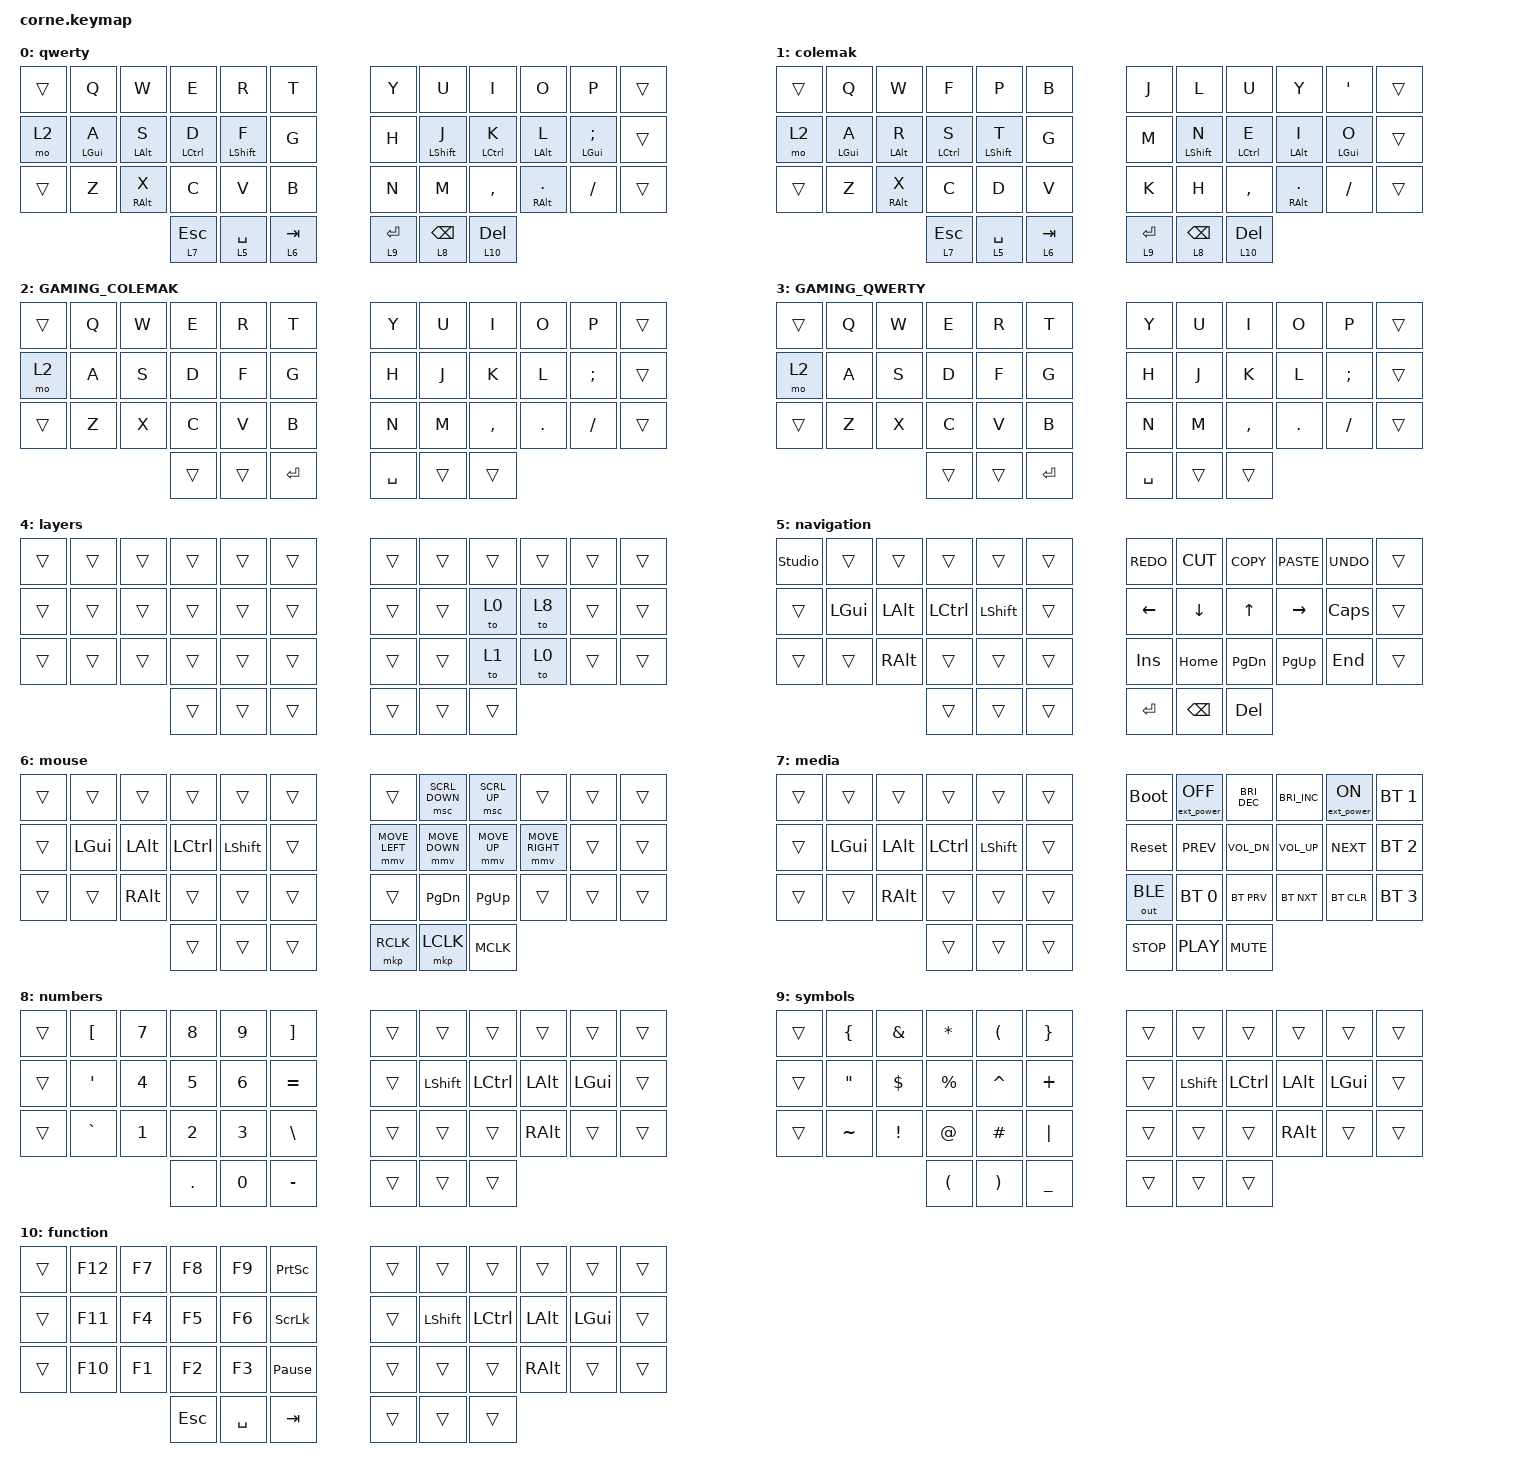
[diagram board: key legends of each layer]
#include <behaviors.dtsi>
#include <dt-bindings/zmk/bt.h>
#include <dt-bindings/zmk/ext_power.h>
#include <dt-bindings/zmk/keys.h>
#include <dt-bindings/zmk/outputs.h>
#include <dt-bindings/zmk/pointing.h>

// Layer Definitions


#define QWERTY 0
#define COLEMAK 1
#define GAMING_COLEMAK 2
#define GAMING_QWERTY 3
#define LAYERS 4
#define NAV 5
#define MOUSE 6
#define MEDIA 7
#define NUM 8
#define SYM 9
#define FN 10

// Behavior configuration

&mt {
    tapping-term-ms = <200>;
    quick_tap_ms = <0>;
    flavor = "tap-preferred";
};

&lt {
    tapping-term-ms = <200>;
    quick_tap_ms = <0>;
    flavor = "tap-preferred";
};

&sk {
    release-after-ms = <500>;
    quick-release;
};

// Keymap configuration (Colemak-DHm)

/ {
    keymap {
        compatible = "zmk,keymap";

        qwerty {
            // -----------------------------------------------------------------------------------------------------------------------------------------------------------------
            // | LAYERS |    Q    |    W    |    E    |    R    |    T    |   #   |    Y    |    U    |    I    |    O    |    P    |         |
            // |  HOLD  | A/LGUI  | S/LALT  | D/LCTRL | F/LSHFT |    G    |   #   |    H    | J/LSHFT | K/LCTRL | L/LALT  | ;/LGUI  |         |
            // |        |    Z    | X/RALT  |    C    |    V    |    B    |   #   |    N    |    M    |    ,    | ./RALT  |    /    |         |
            //                              | ESC/MED | SPC/NAV | TAB/MSE |   #   | ENT/SYM | BSP/NUM | DEL/FN  |

            bindings = <
&trans          &kp Q           &kp W           &kp E           &kp R           &kp T               &kp Y           &kp U           &kp I           &kp O           &kp P           &trans
&mo 2           &mt LGUI A      &mt LALT S      &mt LCTRL D     &mt LSHFT F     &kp G               &kp H           &mt LSHFT J     &mt LCTRL K     &mt LALT L      &mt LGUI SEMI   &trans
&trans          &kp Z           &mt RALT X      &kp C           &kp V           &kp B               &kp N           &kp M           &kp COMMA       &mt RALT DOT    &kp FSLH        &trans
                                                &lt 7 ESC       &lt 5 SPACE     &lt 6 TAB           &lt 9 ENTER     &lt 8 BSPC      &lt 10 DEL
            >;
        };

        colemak {
            // -----------------------------------------------------------------------------------------------------------------------------------------------------------------
            // | LAYERS |    Q    |    W    |    F    |    P    |    B    |   #   |    J    |    L    |    U    |    Y    |    '    |         |
            // |  HOLD  | A/LGUI  | R/LALT  | S/LCTRL | T/LSHFT |    G    |   #   |    M    | N/LSHFT | E/LCTRL | I/LALT  | O/LGUI  |         |
            // |        |    Z    | X/RALT  |    C    |    D    |    V    |   #   |    K    |    H    |    ,    | ./RALT  |    /    |         |
            //                              | ESC/MED | SPC/NAV | TAB/MSE |   #   | ENT/SYM | BSP/NUM | DEL/FN  |

            bindings = <
&trans    &kp Q       &kp W       &kp F       &kp P       &kp B           &kp J        &kp L       &kp U       &kp Y       &kp SQT       &trans
&mo 2     &mt LGUI A  &mt LALT R  &mt LCTRL S &mt LSHFT T &kp G           &kp M        &mt LSHFT N &mt LCTRL E &mt LALT I  &mt LGUI O    &trans
&trans    &kp Z       &mt RALT X  &kp C       &kp D       &kp V           &kp K        &kp H       &kp COMMA   &mt RALT DOT &kp FSLH     &trans
                                  &lt 7 ESC   &lt 5 SPACE &lt 6 TAB       &lt 9 ENTER  &lt 8 BSPC  &lt 10 DEL
            >;
        };

        GAMING_COLEMAK {
            // -----------------------------------------------------------------------------------------------------------------------------------------------------------------
            // |        |    Q    |    W    |    E    |    R    |    T    |   #   |    Y    |    U    |    I    |    O    |    P    |         |
            // |  HOLD  |    A    |    S    |    D    |    F    |    G    |   #   |    H    |    J    |    K    |    L    |    ;    |         |
            // |        |    Z    |    X    |    C    |    V    |    B    |   #   |    N    |    M    |    ,    |    .    |    /    |         |
            //                              |         |         |   RET   |   #   |  SPACE  |         |         |

            bindings = <
&trans     &kp Q      &kp W      &kp E      &kp R      &kp T          &kp Y      &kp U      &kp I      &kp O      &kp P      &trans
&mo 2      &kp A      &kp S      &kp D      &kp F      &kp G          &kp H      &kp J      &kp K      &kp L      &kp SEMI   &trans
&trans     &kp Z      &kp X      &kp C      &kp V      &kp B          &kp N      &kp M      &kp COMMA  &kp DOT    &kp FSLH   &trans
                                 &trans     &trans     &kp RET        &kp SPACE  &trans     &trans
            >;
        };

        GAMING_QWERTY {
            // -----------------------------------------------------------------------------------------------------------------------------------------------------------------
            // |        |    Q    |    W    |    E    |    R    |    T    |   #   |    Y    |    U    |    I    |    O    |    P    |         |
            // |  HOLD  |    A    |    S    |    D    |    F    |    G    |   #   |    H    |    J    |    K    |    L    |    ;    |         |
            // |        |    Z    |    X    |    C    |    V    |    B    |   #   |    N    |    M    |    ,    |    .    |    /    |         |
            //                              |         |         |   RET   |   #   |  SPACE  |         |         |

            bindings = <
&trans     &kp Q      &kp W      &kp E      &kp R      &kp T          &kp Y      &kp U      &kp I      &kp O      &kp P      &trans
&mo 2      &kp A      &kp S      &kp D      &kp F      &kp G          &kp H      &kp J      &kp K      &kp L      &kp SEMI   &trans
&trans     &kp Z      &kp X      &kp C      &kp V      &kp B          &kp N      &kp M      &kp COMMA  &kp DOT    &kp FSLH   &trans
                                 &trans     &trans     &kp RET        &kp SPACE  &trans     &trans
            >;
        };

        layers {
            // -----------------------------------------------------------------------------------------------------------------------------------------------------------------
            // |        |         |         |         |         |         |   #   |         |         |         |         |         |         |
            // |        |         |         |         |         |         |   #   |         |         | QWERTY  | G_QWERT |         |         |
            // |        |         |         |         |         |         |   #   |         |         | COLMAK  | G_COLMK |         |         |
            //                              |         |         |         |   #   |         |         |         |

            bindings = <
&trans     &trans     &trans     &trans     &trans     &trans         &trans     &trans     &trans     &trans     &trans     &trans
&trans     &trans     &trans     &trans     &trans     &trans         &trans     &trans     &to 0      &to 8      &trans     &trans
&trans     &trans     &trans     &trans     &trans     &trans         &trans     &trans     &to 1      &to 0      &trans     &trans
                                 &trans     &trans     &trans         &trans     &trans     &trans
            >;
        };

        navigation {
            // -----------------------------------------------------------------------------------------------------------------------------------------------------------------
            // | UNLOCK |         |         |         |         |         |   #   |  REDO   |   CUT   |  COPY   |  PASTE  |  UNDO   |         |
            // |        |  LGUI   |  LALT   |  LCTRL  |  LSHFT  |         |   #   |  LEFT   |  DOWN   |   UP    |  RIGHT  |  CAPS   |         |
            // |        |         |  RALT   |         |         |         |   #   |  INS    |  HOME   |  PG_DN  |  PG_UP  |   END   |         |
            //                              |         |         |         |   #   |  ENTER  |  BSPC   |   DEL   |

            bindings = <
&studio_unlock &trans     &trans     &trans     &trans     &trans         &kp K_REDO &kp K_CUT  &kp K_COPY &kp K_PASTE &kp K_UNDO   &trans
&trans         &kp LGUI   &kp LALT   &kp LCTRL  &kp LSHFT  &trans         &kp LEFT   &kp DOWN   &kp UP     &kp RIGHT   &kp CAPSLOCK &trans
&trans         &trans     &kp RALT   &trans     &trans     &trans         &kp INS    &kp HOME   &kp PG_DN  &kp PG_UP   &kp END      &trans
                                     &trans     &trans     &trans         &kp ENTER  &kp BSPC   &kp DEL
            >;
        };

        mouse {
            // -----------------------------------------------------------------------------------------------------------------------------------------------------------------
            // |        |         |         |         |         |         |   #   |         |         |         |         |         |         |
            // |        |  LGUI   |  LALT   |  LCTRL  |  LSHFT  |         |   #   | MV_LEFT | MV_DOWN |  MV_UP  | MV_RGHT |         |         |
            // |        |         |  RALT   |         |         |         |   #   |         | PG_DN   | PG_UP   |         |         |         |
            //                              |         |         |         |   #   | R_CLICK | L_CLICK |  MCLK  |         

            bindings = <
&trans     &trans     &trans     &trans     &trans     &trans         &trans          &msc SCRL_DOWN        &msc SCRL_UP     &trans           &trans     &trans
&trans     &kp LGUI   &kp LALT   &kp LCTRL  &kp LSHFT  &trans         &mmv MOVE_LEFT  &mmv MOVE_DOWN  &mmv MOVE_UP  &mmv MOVE_RIGHT  &trans     &trans
&trans     &trans     &kp RALT   &trans     &trans     &trans         &trans          &kp PG_DN       &kp PG_UP     &trans           &trans     &trans
                                 &trans     &trans     &trans         &mkp RCLK       &mkp LCLK        &kp  MCLK
            >;
        };

        media {
            // -----------------------------------------------------------------------------------------------------------------------------------------------------------------
            // |        |         |         |         |         |         |   #   | BOOTLDR | EP_OFF  | BR_DEC  | BR_INC  | EP_ON   |  BT_1   |
            // |        |  LGUI   |  LALT   |  LCTRL  |  LSHFT  |         |   #   | RESET   | PREV    | VOL_DN  | VOL_UP  | NEXT    |  BT_2   |
            // |        |         |  RALT   |         |         |         |   #   | OUT_BLE | BT_0    | BT_PRV  | BT_NXT  | BT_CLR  |  BT_3   |
            //                              |         |         |         |   #   |  STOP   |  PLAY   |  MUTE   |

            bindings = <
&trans     &trans     &trans     &trans     &trans     &trans         &bootloader  &ext_power EP_OFF    &kp C_BRIGHTNESS_DEC &kp C_BRIGHTNESS_INC &ext_power EP_ON &bt BT_SEL 1
&trans     &kp LGUI   &kp LALT   &kp LCTRL  &kp LSHFT  &trans         &sys_reset   &kp C_PREV           &kp C_VOL_DN         &kp C_VOL_UP         &kp C_NEXT       &bt BT_SEL 2
&trans     &trans     &kp RALT   &trans     &trans     &trans         &out OUT_BLE &bt BT_SEL 0         &bt BT_PRV           &bt BT_NXT           &bt BT_CLR       &bt BT_SEL 3
                                 &trans     &trans     &trans         &kp C_STOP   &kp C_PLAY           &kp C_MUTE
            >;
        };

        numbers {
            // -----------------------------------------------------------------------------------------------------------------------------------------------------------------
            // |        |    [    |    7    |    8    |    9    |    ]    |   #   |         |         |         |         |         |         |
            // |        |    '    |    4    |    5    |    6    |    =    |   #   |         |  LSHFT  |  LCTRL  |  LALT   |  LGUI   |         |
            // |        |    `    |    1    |    2    |    3    |    \    |   #   |         |         |         |  RALT   |         |         |
            //                              |    .    |    0    |    -    |   #   |         |         |         |

            bindings = <
&trans     &kp LBKT   &kp N7     &kp N8     &kp N9     &kp RBKT       &trans     &trans     &trans     &trans     &trans     &trans
&trans     &kp SQT    &kp N4     &kp N5     &kp N6     &kp EQUAL      &trans     &kp LSHFT  &kp LCTRL  &kp LALT   &kp LGUI   &trans
&trans     &kp GRAVE  &kp N1     &kp N2     &kp N3     &kp BSLH       &trans     &trans     &trans     &kp RALT   &trans     &trans
                                 &kp DOT    &kp N0     &kp MINUS      &trans     &trans     &trans
            >;
        };

        symbols {
            // -----------------------------------------------------------------------------------------------------------------------------------------------------------------
            // |        |    {    |    &    |    *    |    (    |    }    |   #   |         |         |         |         |         |         |
            // |        |    "    |    $    |    %    |    ^    |    +    |   #   |         |  LSHFT  |  LCTRL  |  LALT   |  LGUI   |         |
            // |        |    ~    |    !    |    @    |    #    |    |    |   #   |         |         |         |  RALT   |         |         |
            //                              |    (    |    )    |    _    |   #   |         |         |         |

            bindings = <
&trans     &kp LBRC   &kp AMPS   &kp ASTRK  &kp LPAR   &kp RBRC       &trans     &trans     &trans     &trans     &trans     &trans
&trans     &kp DQT    &kp DLLR   &kp PRCNT  &kp CARET  &kp PLUS       &trans     &kp LSHFT  &kp LCTRL  &kp LALT   &kp LGUI   &trans
&trans     &kp TILDE  &kp EXCL   &kp AT     &kp HASH   &kp PIPE       &trans     &trans     &trans     &kp RALT   &trans     &trans
                                 &kp LPAR   &kp RPAR   &kp UNDERSCORE &trans     &trans     &trans
            >;
        };

        function {
            // -----------------------------------------------------------------------------------------------------------------------------------------------------------------
            // |        |   F12   |   F7    |   F8    |   F9    |  PSCRN  |   #   |         |         |         |         |         |         |
            // |        |   F11   |   F4    |   F5    |   F6    |  SLCK   |   #   |         |  LSHFT  |  LCTRL  |  LALT   |  LGUI   |         |
            // |        |   F10   |   F1    |   F2    |   F3    |  PAUSE  |   #   |         |         |         |  RALT   |         |         |
            //                              |   ESC   |  SPACE  |   TAB   |   #   |         |         |         |

            bindings = <
&trans     &kp F12    &kp F7     &kp F8     &kp F9     &kp PSCRN      &trans     &trans     &trans     &trans     &trans     &trans
&trans     &kp F11    &kp F4     &kp F5     &kp F6     &kp SLCK       &trans     &kp LSHFT  &kp LCTRL  &kp LALT   &kp LGUI   &trans
&trans     &kp F10    &kp F1     &kp F2     &kp F3     &kp PAUSE_BREAK &trans    &trans     &trans     &kp RALT   &trans     &trans
                                 &kp ESC    &kp SPACE  &kp TAB        &trans     &trans     &trans
            >;
        };
    };
};
